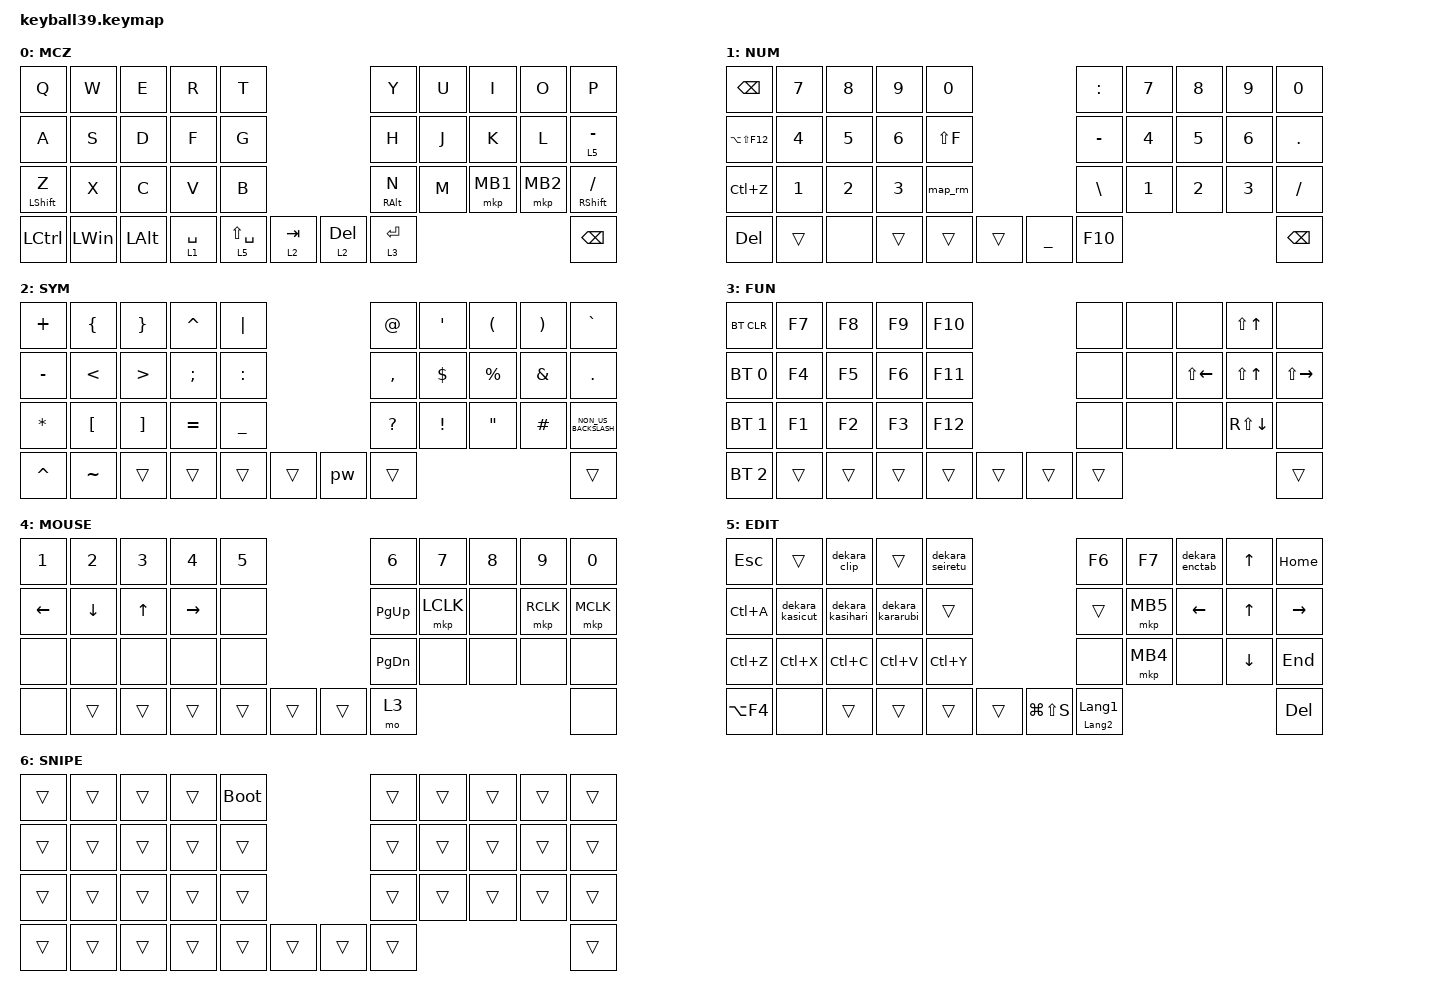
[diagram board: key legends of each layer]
#define DEFAULT 0
#define NUM     1
#define SYM     2
#define FUN     3
#define MOUSE   4
#define SCROLL  5
#define SNIPE   6

#include <behaviors/mouse_keys.dtsi>
#include <dt-bindings/zmk/mouse.h>
#include <dt-bindings/zmk/mouse.h>
#include <dt-bindings/zmk/mouse.h>
#include <dt-bindings/zmk/mouse.h>
#include <dt-bindings/zmk/mouse.h>
#include <dt-bindings/zmk/mouse.h>
#include <dt-bindings/zmk/mouse.h>
#include <dt-bindings/zmk/mouse.h>
#include <dt-bindings/zmk/mouse.h>
#include <dt-bindings/zmk/mouse.h>
#include <dt-bindings/zmk/mouse.h>
#include <dt-bindings/zmk/mouse.h>
#include <dt-bindings/zmk/mouse.h>
#include <dt-bindings/zmk/mouse.h>
#include <dt-bindings/zmk/mouse.h>
#include <dt-bindings/zmk/mouse.h>
#include <dt-bindings/zmk/mouse.h>
#include <dt-bindings/zmk/mouse.h>
#include <dt-bindings/zmk/mouse.h>
#include <dt-bindings/zmk/mouse.h>
#include <dt-bindings/zmk/mouse.h>
#include <dt-bindings/zmk/mouse.h>
#include <dt-bindings/zmk/mouse.h>
#include <dt-bindings/zmk/mouse.h>
#include <dt-bindings/zmk/mouse.h>
#include <dt-bindings/zmk/mouse.h>
#include <dt-bindings/zmk/mouse.h>
#include <dt-bindings/zmk/mouse.h>
#include <behaviors.dtsi>
#include <dt-bindings/zmk/bt.h>
#include <dt-bindings/zmk/keys.h>
#include <dt-bindings/zmk/mouse.h>

&lt {
    tapping-term-ms = <240>;
    flavor = "balanced";
    quick-tap-ms = <150>;
};

&mt {
    tapping-term-ms = <200>;
    flavor = "tap-preferred";
    quick-tap-ms = <150>;
};

&caps_word { continue-list = <UNDERSCORE MINUS>; };

/ {
    // custom shift using mod-morph 

    behaviors {
        cmqus: comma_question {
            compatible = "zmk,behavior-mod-morph";
            label = "COMMA_QUESTION";
            #binding-cells = <0>;
            bindings = <&kp COMMA>, <&kp QUESTION>;

            mods = <(MOD_LSFT|MOD_RSFT)>;
        };

        dtsmi: dot_semi {
            compatible = "zmk,behavior-mod-morph";
            label = "DOT_SEMI";
            #binding-cells = <0>;
            bindings = <&kp DOT>, <&kp SEMI>;

            mods = <(MOD_LSFT|MOD_RSFT)>;
        };
    };

    macros {
        Hiragana: Hiragana {
            compatible = "zmk,behavior-macro";
            #binding-cells = <0>;
            bindings = <&kp LC(SPACE)>;
            label = "HIRAGANA";
        };

        dekara_kasihari: dekara_kasihari {
            compatible = "zmk,behavior-macro";
            #binding-cells = <0>;
            bindings = <&kp LS(TAB) &kp LS(TAB) &kp LS(TAB) &kp LS(TAB) &kp LS(TAB) &kp LS(TAB) &kp LS(TAB) &kp LC(V) &kp LC(HOME)>;
            label = "DEKARA_KASIHARI";
        };

        dekara_kasicut: dekara_kasicut {
            compatible = "zmk,behavior-macro";
            #binding-cells = <0>;
            bindings = <&kp LC(LS(END)) &kp LC(X)>;
            label = "DEKARA_KASICUT";
        };

        dekara_kararubi: dekara_kararubi {
            compatible = "zmk,behavior-macro";
            #binding-cells = <0>;
            bindings = <&kp LANGUAGE_2 &kp LEFT_BRACKET &kp SPACE &kp SEMICOLON &kp SPACE &kp SPACE &kp SPACE &kp SPACE &kp SPACE &kp SPACE &kp SPACE &kp SPACE &kp SPACE &kp RIGHT_BRACKET>;
            label = "DEKARA_KARARUBI";
        };

        dekara_clip: dekara_clip {
            compatible = "zmk,behavior-macro";
            #binding-cells = <0>;
            bindings = <&mkp MB2 &kp L>;
            label = "DEKARA_CLIP";
        };

        dekara_seiretu: dekara_seiretu {
            compatible = "zmk,behavior-macro";
            #binding-cells = <0>;
            bindings = <&mkp MB2 &kp F>;
            label = "DEKARA_SEIRETU";
        };

        dekara_enctab: dekara_enctab {
            compatible = "zmk,behavior-macro";
            #binding-cells = <0>;
            bindings = <&kp F8 &kp TAB &kp TAB &kp END>;
            label = "DEKARA_ENCTAB";
        };

        map_rm: map_rm {
            compatible = "zmk,behavior-macro";
            #binding-cells = <0>;
            bindings = <&kp LANGUAGE_2 &kp LS(R) &kp LS(M)>;
            label = "MAP_RM";
        };

        pw: pw {
            compatible = "zmk,behavior-macro";
            #binding-cells = <0>;
            bindings = <&kp LANGUAGE_2 &kp N0 &kp N8 &kp N0 &kp N9 &kp NUMBER_2 &kp N7>;
            label = "PW";
        };
    };

    keymap {
        compatible = "zmk,keymap";

        default_layer {
            label = "MCZ";
            bindings = <
&kp Q             &kp W         &kp E     &kp R        &kp T                                  &kp Y            &kp U  &kp I     &kp O     &kp P
&kp A             &kp S         &kp D     &kp F        &kp G                                  &kp H            &kp J  &kp K     &kp L     &lt 5 MINUS
&mt LEFT_SHIFT Z  &kp X         &kp C     &kp V        &kp B                                  &mt RIGHT_ALT N  &kp M  &mkp MB1  &mkp MB2  &mt RIGHT_SHIFT SLASH
&kp LCTRL         &kp LEFT_WIN  &kp LALT  &lt 1 SPACE  &lt 5 LS(SPACE)  &lt 2 TAB  &lt 2 DEL  &lt 3 ENTER                                 &kp BACKSPACE
            >;
        };

        number_layer {
            label = "NUM";
            bindings = <
&kp BACKSPACE    &kp N7        &kp N8        &kp N9        &kp N0                        &kp COLON      &kp NUMBER_7  &kp NUMBER_8  &kp NUMBER_9  &kp NUMBER_0
&kp LA(LS(F12))  &kp NUMBER_4  &kp N5        &kp NUMBER_6  &kp LS(F)                     &kp MINUS      &kp NUMBER_4  &kp N5        &kp NUMBER_6  &kp PERIOD
&kp LC(Z)        &kp NUMBER_1  &kp NUMBER_2  &kp NUMBER_3  &map_rm                       &kp BACKSLASH  &kp NUMBER_1  &kp NUMBER_2  &kp NUMBER_3  &kp SLASH
&kp DEL          &trans        &none         &trans        &trans     &trans  &kp UNDER  &kp F10                                                  &kp BACKSPACE
            >;
        };

        symbol_layer {
            label = "SYM";
            bindings = <
&kp PLUS      &kp LEFT_BRACE    &kp RIGHT_BRACE    &kp CARET      &kp PIPE                     &kp AT_SIGN   &kp SQT          &kp LEFT_PARENTHESIS  &kp RIGHT_PARENTHESIS  &kp GRAVE
&kp MINUS     &kp LESS_THAN     &kp GREATER_THAN   &kp SEMICOLON  &kp COLON                    &kp COMMA     &kp DOLLAR       &kp PERCENT           &kp AMPERSAND          &kp PERIOD
&kp ASTERISK  &kp LEFT_BRACKET  &kp RIGHT_BRACKET  &kp EQUAL      &kp UNDERSCORE               &kp QUESTION  &kp EXCLAMATION  &kp DOUBLE_QUOTES     &kp HASH               &kp NON_US_BACKSLASH
&kp CARET     &kp TILDE         &trans             &trans         &trans          &trans  &pw  &trans                                                                      &trans
            >;
        };

        function_layer {
            label = "FUN";
            bindings = <
&bt BT_CLR    &kp F7  &kp F8  &kp F9  &kp F10                  &none   &none  &none         &kp LS(UP_ARROW)  &none
&bt BT_SEL 0  &kp F4  &kp F5  &kp F6  &kp F11                  &none   &none  &kp LS(LEFT)  &kp LS(UP_ARROW)  &kp LS(RIGHT)
&bt BT_SEL 1  &kp F1  &kp F2  &kp F3  &kp F12                  &none   &none  &none         &kp RS(DOWN)      &none
&bt BT_SEL 2  &trans  &trans  &trans  &trans   &trans  &trans  &trans                                         &trans
            >;
        };

        mouse_layer {
            label = "MOUSE";
            bindings = <
&kp N1          &kp N2          &kp N3        &kp N4     &kp N5                  &kp N6         &kp N7     &kp N8  &kp N9     &kp N0
&kp LEFT_ARROW  &kp DOWN_ARROW  &kp UP_ARROW  &kp RIGHT  &none                   &kp PAGE_UP    &mkp LCLK  &none   &mkp RCLK  &mkp MCLK
&none           &none           &none         &none      &none                   &kp PAGE_DOWN  &none      &none   &none      &none
&none           &trans          &trans        &trans     &trans  &trans  &trans  &mo 3                                        &none
            >;
        };

        edit_layer {
            label = "EDIT";
            bindings = <
&kp ESCAPE  &trans           &dekara_clip      &trans            &dekara_seiretu                         &kp F6                     &kp F7    &dekara_enctab  &kp UP_ARROW  &kp HOME
&kp LC(A)   &dekara_kasicut  &dekara_kasihari  &dekara_kararubi  &trans                                  &trans                     &mkp MB5  &kp LEFT        &kp UP_ARROW  &kp RIGHT
&kp LC(Z)   &kp LC(X)        &kp LC(C)         &kp LC(V)         &kp LC(Y)                               &none                      &mkp MB4  &none           &kp DOWN      &kp END
&kp LA(F4)  &none            &trans            &trans            &trans           &trans  &kp LG(LS(S))  &mt LANGUAGE_2 LANGUAGE_1                                          &kp DEL
            >;
        };

        snipe_layer {
            label = "SNIPE";
            bindings = <
&trans  &trans  &trans  &trans  &bootloader                  &trans  &trans  &trans  &trans  &trans
&trans  &trans  &trans  &trans  &trans                       &trans  &trans  &trans  &trans  &trans
&trans  &trans  &trans  &trans  &trans                       &trans  &trans  &trans  &trans  &trans
&trans  &trans  &trans  &trans  &trans       &trans  &trans  &trans                          &trans
            >;
        };
    };
};
